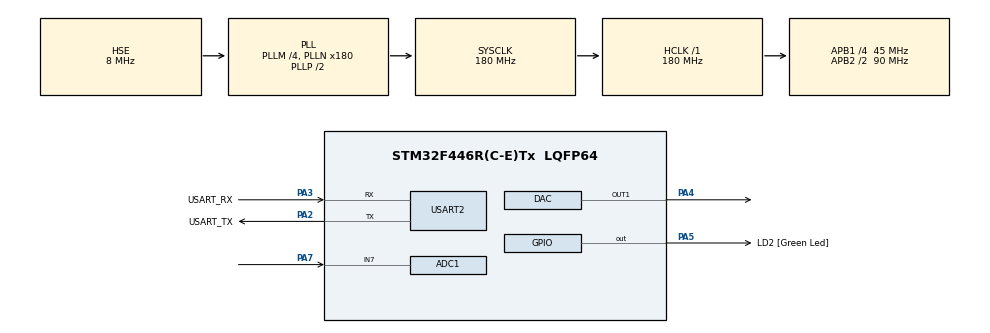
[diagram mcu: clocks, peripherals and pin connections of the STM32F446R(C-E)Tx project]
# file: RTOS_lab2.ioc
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ADC1.Channel-3\#ChannelRegularConversion=ADC_CHANNEL_TEMPSENSOR
ADC1.Channel-4\#ChannelRegularConversion=ADC_CHANNEL_7
ADC1.DMAContinuousRequests=ENABLE
ADC1.ExternalTrigConv=ADC_EXTERNALTRIGCONV_T8_TRGO
ADC1.NbrOfConversion=2
ADC1.NbrOfConversionFlag=1
ADC1.Rank-3\#ChannelRegularConversion=1
ADC1.Rank-4\#ChannelRegularConversion=2
ADC1.SamplingTime-3\#ChannelRegularConversion=ADC_SAMPLETIME_15CYCLES
ADC1.SamplingTime-4\#ChannelRegularConversion=ADC_SAMPLETIME_15CYCLES
ADC1.ScanConvMode=ENABLE
ADC1.master=1
Dma.ADC1.0.Direction=DMA_PERIPH_TO_MEMORY
Dma.ADC1.0.FIFOMode=DMA_FIFOMODE_DISABLE
Dma.ADC1.0.Instance=DMA2_Stream0
Dma.ADC1.0.MemDataAlignment=DMA_MDATAALIGN_HALFWORD
Dma.ADC1.0.MemInc=DMA_MINC_ENABLE
Dma.ADC1.0.Mode=DMA_CIRCULAR
Dma.ADC1.0.PeriphDataAlignment=DMA_PDATAALIGN_HALFWORD
Dma.ADC1.0.PeriphInc=DMA_PINC_DISABLE
Dma.ADC1.0.Priority=DMA_PRIORITY_HIGH
Dma.Request0=ADC1
FREERTOS.INCLUDE_uxTaskGetStackHighWaterMark=1
FREERTOS.INCLUDE_vTaskDelayUntil=1
FREERTOS.Queues01=ADC_queue,16,uint32_t,0,Dynamic,NULL,NULL
FREERTOS.Tasks01=defaultTask,0,128,StartDefaultTask,Default,NULL,Dynamic,NULL,NULL;task_A,-3,256,StartTask_A,Default,NULL,Dynamic,NULL,NULL;genAnalogSig,-3,128,StartGenAnalogSig,Default,NULL,Dynamic,NULL,NULL
FREERTOS.Timers01=softwareTimer1,softwareTimer1Callback,osTimerPeriodic,Default,NULL,Dynamic,NULL
FREERTOS.configCHECK_FOR_STACK_OVERFLOW=2
FREERTOS.configENABLE_FPU=1
FREERTOS.configGENERATE_RUN_TIME_STATS=1
FREERTOS.configRECORD_STACK_HIGH_ADDRESS=1
FREERTOS.configTIMER_TASK_PRIORITY=6
FREERTOS.configUSE_NEWLIB_REENTRANT=1
FREERTOS.configUSE_POSIX_ERRNO=1
FREERTOS.configUSE_STATS_FORMATTING_FUNCTIONS=1
FREERTOS.configUSE_TIMERS=1
FREERTOS.configUSE_TRACE_FACILITY=1
Mcu.Family=STM32F4
Mcu.Name=STM32F446R(C-E)Tx
Mcu.Package=LQFP64
NVIC.ADC_IRQn=true\:5\:0\:false\:false\:true\:true\:true\:true\:true
NVIC.DMA2_Stream0_IRQn=true\:5\:0\:false\:false\:true\:true\:false\:true\:true
NVIC.PriorityGroup=NVIC_PRIORITYGROUP_4
NVIC.TIM1_UP_TIM10_IRQn=true\:5\:0\:false\:false\:true\:true\:false\:true\:true
NVIC.TimeBase=TIM1_UP_TIM10_IRQn
NVIC.TimeBaseIP=TIM10
NVIC.USART2_IRQn=true\:5\:0\:false\:false\:true\:true\:true\:true\:true
PA13.GPIO_Label=TMS
PA13.Mode=Serial_Wire
PA13.Signal=SYS_JTMS-SWDIO
PA14.GPIO_Label=TCK
PA14.Mode=Serial_Wire
PA14.Signal=SYS_JTCK-SWCLK
PA2.GPIO_Label=USART_TX
PA2.Mode=Asynchronous
PA2.Signal=USART2_TX
PA3.GPIO_Label=USART_RX
PA3.Mode=Asynchronous
PA3.Signal=USART2_RX
PA4.Signal=COMP_DAC1_group
PA5.GPIO_Label=LD2 [Green Led]
PA5.Signal=GPIO_Output
PA7.Signal=ADCx_IN7
PB3.GPIO_Label=SWO
PB3.Signal=SYS_JTDO-SWO
PC14-OSC32_IN.Mode=LSE-External-Oscillator
PC14-OSC32_IN.Signal=RCC_OSC32_IN
PC15-OSC32_OUT.Mode=LSE-External-Oscillator
PC15-OSC32_OUT.Signal=RCC_OSC32_OUT
PH0-OSC_IN.Mode=HSE-External-Oscillator
PH0-OSC_IN.Signal=RCC_OSC_IN
PH1-OSC_OUT.Mode=HSE-External-Oscillator
PH1-OSC_OUT.Signal=RCC_OSC_OUT
ProjectManager.HeapSize=0x200
ProjectManager.StackSize=0x400
ProjectManager.TargetToolchain=STM32CubeIDE
RCC.48MHZClocksFreq_Value=84000000
RCC.AHBFreq_Value=180000000
RCC.APB1CLKDivider=RCC_HCLK_DIV4
RCC.APB1Freq_Value=45000000
RCC.APB1TimFreq_Value=90000000
RCC.APB2CLKDivider=RCC_HCLK_DIV2
RCC.APB2Freq_Value=90000000
RCC.APB2TimFreq_Value=180000000
RCC.CortexFreq_Value=180000000
RCC.FLatency-AdvancedSettings=FLASH_LATENCY_5
RCC.HCLKFreq_Value=180000000
RCC.HSE_VALUE=8000000
RCC.HSI_VALUE=16000000
RCC.PLLM=4
RCC.PLLN=180
RCC.PLLSourceVirtual=RCC_PLLSOURCE_HSE
RCC.SYSCLKFreq_VALUE=180000000
RCC.SYSCLKSource=RCC_SYSCLKSOURCE_PLLCLK
RCC.USBFreq_Value=180000000
RCC.VCOOutputFreq_Value=360000000
SH.ADCx_IN7.0=ADC1_IN7,IN7
SH.COMP_DAC1_group.0=DAC_OUT1,DAC_OUT1
TIM8.Channel-PWM\ Generation2\ No\ Output=TIM_CHANNEL_2
TIM8.Period=999
TIM8.Prescaler=159
TIM8.TIM_MasterOutputTrigger=TIM_TRGO_UPDATE
USART2.VirtualMode=VM_ASYNC
VP_ADC1_TempSens_Input.Mode=IN-TempSens
VP_FREERTOS_VS_CMSIS_V1.Mode=CMSIS_V1
VP_SYS_VS_tim10.Mode=TIM10
VP_TIM8_VS_ClockSourceINT.Mode=Internal
VP_TIM8_VS_no_output2.Mode=PWM Generation2 No Output
board=NUCLEO-F446RE

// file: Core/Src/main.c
/* USER CODE BEGIN Header */
/**
  ******************************************************************************
  * @file           : main.c
  * @brief          : Main program body
  ******************************************************************************
  * @attention
  *
  * Copyright (c) 2023 STMicroelectronics.
  * All rights reserved.
  *
  * This software is licensed under terms that can be found in the LICENSE file
  * in the root directory of this software component.
  * If no LICENSE file comes with this software, it is provided AS-IS.
  *
  ******************************************************************************
  */
/* USER CODE END Header */
#include "main.h"
#include "cmsis_os.h"
#include "adc.h"
#include "dac.h"
#include "dma.h"
#include "tim.h"
#include "usart.h"
#include "gpio.h"

void SystemClock_Config(void);
void MX_FREERTOS_Init(void);

int main(void)
{

  /* MCU Configuration--------------------------------------------------------*/

  /* Reset of all peripherals, Initializes the Flash interface and the Systick. */
  HAL_Init();

  /* Configure the system clock */
  SystemClock_Config();

  /* Initialize all configured peripherals */
  MX_GPIO_Init();
  MX_DMA_Init();
  MX_USART2_UART_Init();
  MX_ADC1_Init();
  MX_DAC_Init();
  MX_TIM8_Init();

  /* Call init function for freertos objects (in freertos.c) */
  MX_FREERTOS_Init();

  /* Start scheduler */
  osKernelStart();
  /* We should never get here as control is now taken by the scheduler */
  /* Infinite loop */
  while (1)
  {

  }
}

void SystemClock_Config(void)
{
  RCC_OscInitTypeDef RCC_OscInitStruct = {0};
  RCC_ClkInitTypeDef RCC_ClkInitStruct = {0};

  /** Configure the main internal regulator output voltage
  */
  __HAL_RCC_PWR_CLK_ENABLE();
  __HAL_PWR_VOLTAGESCALING_CONFIG(PWR_REGULATOR_VOLTAGE_SCALE1);

  /** Initializes the RCC Oscillators according to the specified parameters
  * in the RCC_OscInitTypeDef structure.
  */
  RCC_OscInitStruct.OscillatorType = RCC_OSCILLATORTYPE_HSE;
  RCC_OscInitStruct.HSEState = RCC_HSE_ON;
  RCC_OscInitStruct.PLL.PLLState = RCC_PLL_ON;
  RCC_OscInitStruct.PLL.PLLSource = RCC_PLLSOURCE_HSE;
  RCC_OscInitStruct.PLL.PLLM = 4;
  RCC_OscInitStruct.PLL.PLLN = 180;
  RCC_OscInitStruct.PLL.PLLP = RCC_PLLP_DIV2;
  RCC_OscInitStruct.PLL.PLLQ = 2;
  RCC_OscInitStruct.PLL.PLLR = 2;
  if (HAL_RCC_OscConfig(&RCC_OscInitStruct) != HAL_OK)
  {
    Error_Handler();
  }

  /** Activate the Over-Drive mode
  */
  if (HAL_PWREx_EnableOverDrive() != HAL_OK)
  {
    Error_Handler();
  }

  /** Initializes the CPU, AHB and APB buses clocks
  */
  RCC_ClkInitStruct.ClockType = RCC_CLOCKTYPE_HCLK|RCC_CLOCKTYPE_SYSCLK
                              |RCC_CLOCKTYPE_PCLK1|RCC_CLOCKTYPE_PCLK2;
  RCC_ClkInitStruct.SYSCLKSource = RCC_SYSCLKSOURCE_PLLCLK;
  RCC_ClkInitStruct.AHBCLKDivider = RCC_SYSCLK_DIV1;
  RCC_ClkInitStruct.APB1CLKDivider = RCC_HCLK_DIV4;
  RCC_ClkInitStruct.APB2CLKDivider = RCC_HCLK_DIV2;

  if (HAL_RCC_ClockConfig(&RCC_ClkInitStruct, FLASH_LATENCY_5) != HAL_OK)
  {
    Error_Handler();
  }
}

void HAL_TIM_PeriodElapsedCallback(TIM_HandleTypeDef *htim)
{
  if (htim->Instance == TIM10) {
    HAL_IncTick();
  }
}

void Error_Handler(void)
{
  __disable_irq();
  while (1)
  {
  }
}

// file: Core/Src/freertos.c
/* USER CODE BEGIN Header */
/**
  ******************************************************************************
  * File Name          : freertos.c
  * Description        : Code for freertos applications
  ******************************************************************************
  * @attention
  *
  * Copyright (c) 2023 STMicroelectronics.
  * All rights reserved.
  *
  * This software is licensed under terms that can be found in the LICENSE file
  * in the root directory of this software component.
  * If no LICENSE file comes with this software, it is provided AS-IS.
  *
  ******************************************************************************
  */
/* USER CODE END Header */

#include "FreeRTOS.h"
#include "task.h"
#include "main.h"
#include "cmsis_os.h"

/* USER CODE BEGIN PD */
#define ADC_QUEUE_LEN 16
#define ADC_BUFFER_LEN 1024
/* USER CODE END PD */

/* USER CODE BEGIN Variables */

extern UART_HandleTypeDef huart2;
extern ADC_HandleTypeDef hadc1;
extern DMA_HandleTypeDef hdma_adc1;
extern TIM_HandleTypeDef htim10;
extern TIM_HandleTypeDef htim8;
extern DAC_HandleTypeDef hdac;

volatile unsigned long ulHighFrequencyTimerTicks;
//volatile uint16_t ADC_results[2];
//const int ADC_channel_count=sizeof(ADC_results)/sizeof(ADC_results[0]);
//volatile ADC_conversion_completed=0;

volatile union ADC_reading ADC_readings_buffer[ADC_BUFFER_LEN];
union ADC_reading ADC_readings_queue[ADC_QUEUE_LEN];
union ADC_reading ADC_reading_data;

volatile int buffer_half_full=0;
volatile int buffer_full=0;
BaseType_t xHigherPriorityTaskWoken = pdFALSE;

int ADCVolt_raw;
int ADCTemp_raw;

int USE_DMA=1;

// calculate TEMP const.
float Vsense;
float Temp;
const float V25=0.76;	// V
const float Avg_Slope=2.5; // mV/C
const float VRefint=1.21; //V

/* USER CODE END Variables */
osThreadId defaultTaskHandle;
osThreadId task_AHandle;
osThreadId genAnalogSigHandle;
osMessageQId ADC_queueHandle;
osTimerId softwareTimer1Handle;

/* USER CODE BEGIN FunctionPrototypes */

#ifdef __GNUC__
#define PUTCHAR_PROTOTYPE int __io_putchar(int ch)
#else
#define PUTCHAR_PROTOTYPE int fputc(int ch, FILE *f)
#endif

PUTCHAR_PROTOTYPE
{
  HAL_UART_Transmit(&huart2, (uint8_t *)&ch, 1, HAL_MAX_DELAY);
  return ch;
}
/* USER CODE END FunctionPrototypes */

void StartDefaultTask(void const * argument);
void StartTask_A(void const * argument);
void StartGenAnalogSig(void const * argument);
void softwareTimer1Callback(void const * argument);

void MX_FREERTOS_Init(void); /* (MISRA C 2004 rule 8.1) */

/* GetIdleTaskMemory prototype (linked to static allocation support) */
void vApplicationGetIdleTaskMemory( StaticTask_t **ppxIdleTaskTCBBuffer, StackType_t **ppxIdleTaskStackBuffer, uint32_t *pulIdleTaskStackSize );

/* GetTimerTaskMemory prototype (linked to static allocation support) */
void vApplicationGetTimerTaskMemory( StaticTask_t **ppxTimerTaskTCBBuffer, StackType_t **ppxTimerTaskStackBuffer, uint32_t *pulTimerTaskStackSize );

/* Hook prototypes */
void configureTimerForRunTimeStats(void);
unsigned long getRunTimeCounterValue(void);
void vApplicationStackOverflowHook(xTaskHandle xTask, signed char *pcTaskName);

/* USER CODE BEGIN 1 */
/* Functions needed when configGENERATE_RUN_TIME_STATS is on */
__weak void configureTimerForRunTimeStats(void)
{
	ulHighFrequencyTimerTicks = 0;
	HAL_TIM_Base_Start_IT(&htim10);
}

__weak unsigned long getRunTimeCounterValue(void)
{
	return ulHighFrequencyTimerTicks;
}

//HAL_ADC
void HAL_ADC_ConvCpltCallback(ADC_HandleTypeDef* hadc)
{
	buffer_full=1;
	printf("DMA full \r\n");
	vTaskNotifyGiveFromISR(task_AHandle,&xHigherPriorityTaskWoken);
}
void HAL_ADC_ConvHalfCpltCallback(ADC_HandleTypeDef* hadc)
{
	buffer_half_full=1;
	printf("DMA half-full \r\n");
	vTaskNotifyGiveFromISR(task_AHandle,&xHigherPriorityTaskWoken);
}

void read_ADC_and_send_mess()
{
	HAL_ADC_Start(&hadc1);

	HAL_ADC_PollForConversion(&hadc1, HAL_MAX_DELAY);
	ADCTemp_raw = HAL_ADC_GetValue(&hadc1);	// RANK 1

	HAL_ADC_PollForConversion(&hadc1, HAL_MAX_DELAY);
	ADCVolt_raw = HAL_ADC_GetValue(&hadc1);	// RANK 2

	HAL_ADC_Stop(&hadc1);

	//send data to queue
	//printf("TIMER: ADCTemp_raw: %d  ADCVolt_raw: %d  \r\n",ADCTemp_raw,ADCVolt_raw);
	ADC_reading_data.word[0]=ADCTemp_raw;
	ADC_reading_data.word[1]=ADCVolt_raw;

	osMessagePut(ADC_queueHandle,ADC_reading_data.all_data, 5);
}

void get_ADC_data_from_queue(union ADC_reading* ADC_reading_queue)
{
	for(int i=0;i<ADC_QUEUE_LEN;i++)
		{
			osEvent mess_event=osMessageGet(ADC_queueHandle,100);
			//printf("message status %d",mess_event.status);
			if(mess_event.status==0x10)	// message
			{
				ADC_reading_queue[i].all_data=mess_event.value.v;
			}
			else
			{
			printf("msg error");
			ADC_reading_queue[i].all_data=0;
			}
		}
}

float calculate_average_temp(union ADC_reading* ADC_reading_queue,int reading_length)
{
	uint32_t temp_sum=0;
	for(int i=0;i<reading_length;i++)
	{
			temp_sum=temp_sum+(uint32_t)ADC_reading_queue[i].word[0];
	}

	float mean_temp=(float)temp_sum/(float)reading_length;
	//printf("temp sum: %d \r\n",temp_sum);
	//printf("mean_temp: %f \r\n",mean_temp);
	Vsense=(mean_temp/4096.0)*VRefint;
	Temp=((Vsense-V25)/Avg_Slope)+25.0;

	return Temp;
}

/* USER CODE END 1 */

/* USER CODE BEGIN 4 */
__weak void vApplicationStackOverflowHook(xTaskHandle xTask, signed char *pcTaskName)
{
   /* Run time stack overflow checking is performed if
   configCHECK_FOR_STACK_OVERFLOW is defined to 1 or 2. This hook function is
   called if a stack overflow is detected. */
}
/* USER CODE END 4 */

/* USER CODE BEGIN GET_IDLE_TASK_MEMORY */
static StaticTask_t xIdleTaskTCBBuffer;
static StackType_t xIdleStack[configMINIMAL_STACK_SIZE];

void vApplicationGetIdleTaskMemory( StaticTask_t **ppxIdleTaskTCBBuffer, StackType_t **ppxIdleTaskStackBuffer, uint32_t *pulIdleTaskStackSize )
{
  *ppxIdleTaskTCBBuffer = &xIdleTaskTCBBuffer;
  *ppxIdleTaskStackBuffer = &xIdleStack[0];
  *pulIdleTaskStackSize = configMINIMAL_STACK_SIZE;
  /* place for user code */
}
/* USER CODE END GET_IDLE_TASK_MEMORY */

/* USER CODE BEGIN GET_TIMER_TASK_MEMORY */
static StaticTask_t xTimerTaskTCBBuffer;
static StackType_t xTimerStack[configTIMER_TASK_STACK_DEPTH];

void vApplicationGetTimerTaskMemory( StaticTask_t **ppxTimerTaskTCBBuffer, StackType_t **ppxTimerTaskStackBuffer, uint32_t *pulTimerTaskStackSize )
{
  *ppxTimerTaskTCBBuffer = &xTimerTaskTCBBuffer;
  *ppxTimerTaskStackBuffer = &xTimerStack[0];
  *pulTimerTaskStackSize = configTIMER_TASK_STACK_DEPTH;
  /* place for user code */
}
/* USER CODE END GET_TIMER_TASK_MEMORY */

void MX_FREERTOS_Init(void) {
  /* USER CODE BEGIN Init */

	// start timer
	HAL_TIM_PWM_Start(&htim8, TIM_CHANNEL_2);
	//HAL_TIMEx_PWMN_Start_DMA(&htim8, Channe2, pData, Length)
	//start DMA
	if(USE_DMA)
	{
		HAL_ADC_Start_DMA(&hadc1, (uint32_t*) ADC_readings_buffer, ADC_BUFFER_LEN);
	}

  /* USER CODE END Init */

  /* Create the timer(s) */
  /* definition and creation of softwareTimer1 */
  osTimerDef(softwareTimer1, softwareTimer1Callback);
  softwareTimer1Handle = osTimerCreate(osTimer(softwareTimer1), osTimerPeriodic, NULL);

  /* USER CODE BEGIN RTOS_TIMERS */
  /* start timers, add new ones, ... */
  osTimerStart(softwareTimer1Handle, 10);	//runs every 10 ms
  /* USER CODE END RTOS_TIMERS */

  /* Create the queue(s) */
  /* definition and creation of ADC_queue */
  osMessageQDef(ADC_queue, 16, uint32_t);
  ADC_queueHandle = osMessageCreate(osMessageQ(ADC_queue), NULL);

  /* Create the thread(s) */
  /* definition and creation of defaultTask */
  osThreadDef(defaultTask, StartDefaultTask, osPriorityNormal, 0, 128);
  defaultTaskHandle = osThreadCreate(osThread(defaultTask), NULL);

  /* definition and creation of task_A */
  osThreadDef(task_A, StartTask_A, osPriorityIdle, 0, 256);
  task_AHandle = osThreadCreate(osThread(task_A), NULL);

  /* definition and creation of genAnalogSig */
  osThreadDef(genAnalogSig, StartGenAnalogSig, osPriorityIdle, 0, 128);
  genAnalogSigHandle = osThreadCreate(osThread(genAnalogSig), NULL);

}

void StartDefaultTask(void const * argument)
{
  /* USER CODE BEGIN StartDefaultTask */

  /* Infinite loop */
  for(;;)
  {
    osDelay(1000);
    HAL_GPIO_TogglePin(LD2_GPIO_Port, LD2_Pin);
//    printf("UART TEST: char: %c int: %d float: %f \r\n", 'a',46,4.543);
  }
  /* USER CODE END StartDefaultTask */
}

void StartTask_A(void const * argument)
{
  /* USER CODE BEGIN StartTask_A */
	//define variables
	// QUEUE

  /* Infinite loop */
  for(;;)
  {
	// QUEUE
	float average_temp=0;
	if(!USE_DMA)
	{
		get_ADC_data_from_queue(ADC_readings_queue);
		average_temp=calculate_average_temp(ADC_readings_queue,ADC_QUEUE_LEN);
		printf("Calculated temp: %f \r\n",average_temp);
		osDelay(1000);
	}
	else
	{
		//wait for the interupt
		ulTaskNotifyTake(pdTRUE,(TickType_t) portMAX_DELAY);
		if(buffer_full) //read second half
		{
			average_temp=calculate_average_temp(ADC_readings_buffer+ADC_BUFFER_LEN/2,ADC_BUFFER_LEN/2);
			buffer_full=0;
			printf("Calculated temp: %f \r\n",average_temp);
		}
		else if(buffer_half_full)	//read first half
		{
			average_temp=calculate_average_temp(ADC_readings_buffer,ADC_BUFFER_LEN/2);
			buffer_half_full=0;
			printf("Calculated temp: %f \r\n",average_temp);
		}
		else
		{
			printf("empty buffer");
		}
		//printf("Calculated temp: %f \r\n",average_temp);
	}

  }
  /* USER CODE END StartTask_A */
}

void StartGenAnalogSig(void const * argument)
{
  /* USER CODE BEGIN StartGenAnalogSig */
	float analogValue=0;
	int digitalValue=0;
	const float Vref=3.3;
	const float deltaTime=(2*3.1416)/10;
	float time=0;
	const int frequency=30;
	HAL_DAC_Start(&hdac, DAC_CHANNEL_1);
  /* Infinite loop */
  for(;;)
  {
	analogValue=0.3*sin(time)+0.5;	// Volts
	digitalValue=(analogValue*4096.0)/Vref;
	HAL_DAC_SetValue(&hdac, DAC_CHANNEL_1, DAC_ALIGN_12B_R, digitalValue);
	time=time+deltaTime;
	if(time>2*3.1416) time=0;
    osDelay(100/frequency);

  }
  /* USER CODE END StartGenAnalogSig */
}

/* softwareTimer1Callback function */
void softwareTimer1Callback(void const * argument)
{
  /* USER CODE BEGIN softwareTimer1Callback */

// version 1 with queue
	if(!USE_DMA) read_ADC_and_send_mess();

  /* USER CODE END softwareTimer1Callback */
}
